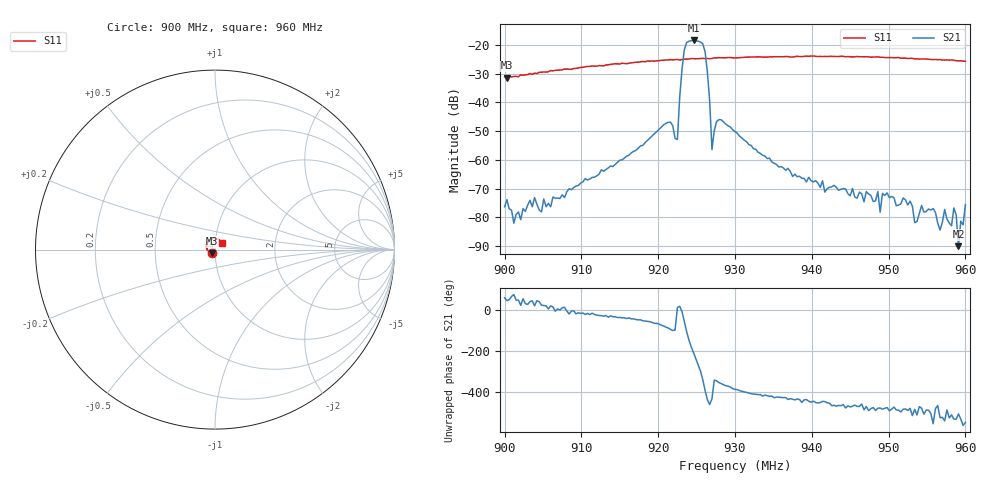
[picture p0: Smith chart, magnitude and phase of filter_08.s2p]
!File created by NanoVNA-F V2
# Hz S RI R 50
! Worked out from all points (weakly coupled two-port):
!   201 points, 900 MHz to 960 MHz, reference 50 ohm
!   highest |S21| = -18.48 dB at 924.6 MHz (marker M1); lowest = -90.0 dB at 959.1 MHz (marker M2)
!   lowest |S11| = -31.4 dB at 900.3 MHz (marker M3), VSWR 1.06, Z = 48.3 - j1.98 ohm
!   |S11| at or under -10 dB: start of sweep to end of sweep
!   S12 and S22 are empty: the file has one direction only
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9e8  -0.0179 -0.021  8e-05 0.00013  0 0  0 0
9.003e8  -0.0173 -0.0205  0.000146 0.000142  0 0  0 0
9.021e8  -0.0236 -0.0189  8.5e-05 3.3e-05  0 0  0 0
9.102e8  -0.0404 -0.00394  0.0004 -0.000113  0 0  0 0
9.201e8  -0.0469 0.0243  0.00121 -0.00316  0 0  0 0
9.216e8  -0.0479 0.0277  -0.000423 -0.0045  0 0  0 0
9.225e8  -0.0471 0.0297  0.00222 0.000442  0 0  0 0
9.234e8  -0.0458 0.0327  0.0441 -0.0692  0 0  0 0
9.246e8  -0.0455 0.035  -0.1055 0.0553  0 0  0 0
9.261e8  -0.0419 0.0391  0.0656 -0.0389  0 0  0 0
9.267e8  -0.0401 0.0409  -0.00179 -0.0104  0 0  0 0
9.27e8  -0.0398 0.042  0.000456 -0.00144  0 0  0 0
9.279e8  -0.0406 0.0439  0.00497 0.000606  0 0  0 0
9.3e8  -0.034 0.0483  0.00279 -0.00136  0 0  0 0
9.402e8  -0.0115 0.0627  4.7e-05 -0.000411  0 0  0 0
9.486e8  0.0144 0.0602  -0.000131 -0.000249  0 0  0 0
9.489e8  0.0154 0.0586  -5.5e-05 -0.00011  0 0  0 0
9.492e8  0.0147 0.059  -0.00014 -0.000221  0 0  0 0
9.501e8  0.0185 0.057  -0.000142 -0.000169  0 0  0 0
9.534e8  0.0258 0.0508  -4.4e-05 -6.8e-05  0 0  0 0
9.591e8  0.0373 0.0373  -2.6e-05 -1.8e-05  0 0  0 0
9.6e8  0.0382 0.0348  -0.000166 2e-05  0 0  0 0
